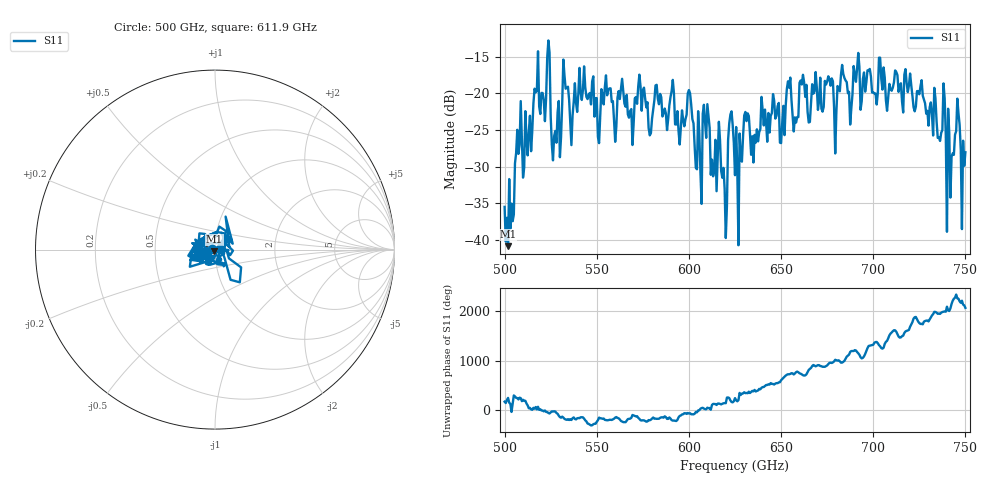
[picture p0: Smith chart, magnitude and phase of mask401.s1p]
!Created with skrf (http://scikit-rf.org).
# GHz S MA R 50.0
!freq magS11 angS11
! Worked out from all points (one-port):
!   401 points, 500 GHz to 750 GHz, reference 50 ohm
!   lowest |S11| = -40.8 dB at 501.9 GHz (marker M1), VSWR 1.02, Z = 49.7 - j0.855 ohm
!   |S11| at or under -10 dB: start of sweep to end of sweep
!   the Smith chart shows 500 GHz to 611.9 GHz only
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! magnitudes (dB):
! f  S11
! 500 GHz  -35.5
! 501.9 GHz  -40.8
! 507.5 GHz  -28.3
! 513.8 GHz  -23.1
! 516.9 GHz  -19.9
! 523.8 GHz  -12.8
! 526.9 GHz  -25.8
! 531.2 GHz  -21.4
! 562.5 GHz  -20.8
! 579.4 GHz  -25.4
! 590.6 GHz  -19.7
! 593.8 GHz  -22.4
! 600.6 GHz  -20.0
! 605.6 GHz  -25.5
! 609.4 GHz  -26.1
! 619.4 GHz  -33.0
! 622.5 GHz  -22.9
! 625 GHz  -31.2
! 656.2 GHz  -23.1
! 680 GHz  -22.6
! 683.8 GHz  -17.4
! 687.5 GHz  -24.3
! 690.6 GHz  -18.4
! 718.8 GHz  -19.8
! 738.1 GHz  -18.7
! 741.2 GHz  -25.5
! 745.6 GHz  -20.7
! 750 GHz  -28.0
